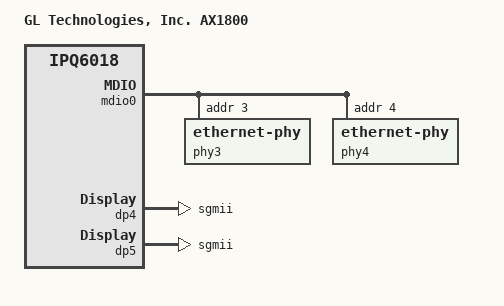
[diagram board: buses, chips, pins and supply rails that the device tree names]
/dts-v1/;
/*
 * Copyright (c) 2019, The Linux Foundation. All rights reserved.
 *
 * Permission to use, copy, modify, and/or distribute this software for any
 * purpose with or without fee is hereby granted, provided that the above
 * copyright notice and this permission notice appear in all copies.
 *
 * THE SOFTWARE IS PROVIDED "AS IS" AND THE AUTHOR DISCLAIMS ALL WARRANTIES
 * WITH REGARD TO THIS SOFTWARE INCLUDING ALL IMPLIED WARRANTIES OF
 * MERCHANTABILITY AND FITNESS. IN NO EVENT SHALL THE AUTHOR BE LIABLE FOR
 * ANY SPECIAL, DIRECT, INDIRECT, OR CONSEQUENTIAL DAMAGES OR ANY DAMAGES
 * WHATSOEVER RESULTING FROM LOSS OF USE, DATA OR PROFITS, WHETHER IN AN
 * ACTION OF CONTRACT, NEGLIGENCE OR OTHER TORTIOUS ACTION, ARISING OUT OF
 * OR IN CONNECTION WITH THE USE OR PERFORMANCE OF THIS SOFTWARE.
 */

#include "qcom-ipq6018-gl-ax1800.dtsi"

/ {
	model = "GL Technologies, Inc. AX1800";
	compatible = "glinet,ax1800", "qcom,ipq6018-cp03", "qcom,ipq6018";

	aliases {
		ethernet3 = "/soc/dp4";
		ethernet4 = "/soc/dp5";
	};
};

&mdio0 {
	phy3: ethernet-phy@3 {
		reg = <3>;
	};
	phy4: ethernet-phy@4 {
		reg = <4>;
	};
};

&ess0 {
	switch_lan_bmp = <0x3c>; /* lan port bitmap */

	qcom,port_phyinfo {
		port@3 {
			port_id = <4>;
			phy_address = <3>;
		};
		port@4 {
			port_id = <5>;
			phy_address = <4>;
		};
	};
};

&soc {
	dp4 {
		device_type = "network";
		compatible = "qcom,nss-dp";
		qcom,id = <4>;
		reg = <0x3a001600 0x200>;
		qcom,mactype = <0>;
		local-mac-address = [000000000000];
		qcom,link-poll = <1>;
		qcom,phy-mdio-addr = <3>;
		phy-mode = "sgmii";
	};

	dp5 {
		device_type = "network";
		compatible = "qcom,nss-dp";
		qcom,id = <5>;
		reg = <0x3a001800 0x200>;
		qcom,mactype = <0>;
		local-mac-address = [000000000000];
		qcom,link-poll = <1>;
		qcom,phy-mdio-addr = <4>;
		phy-mode = "sgmii";
	};
};
